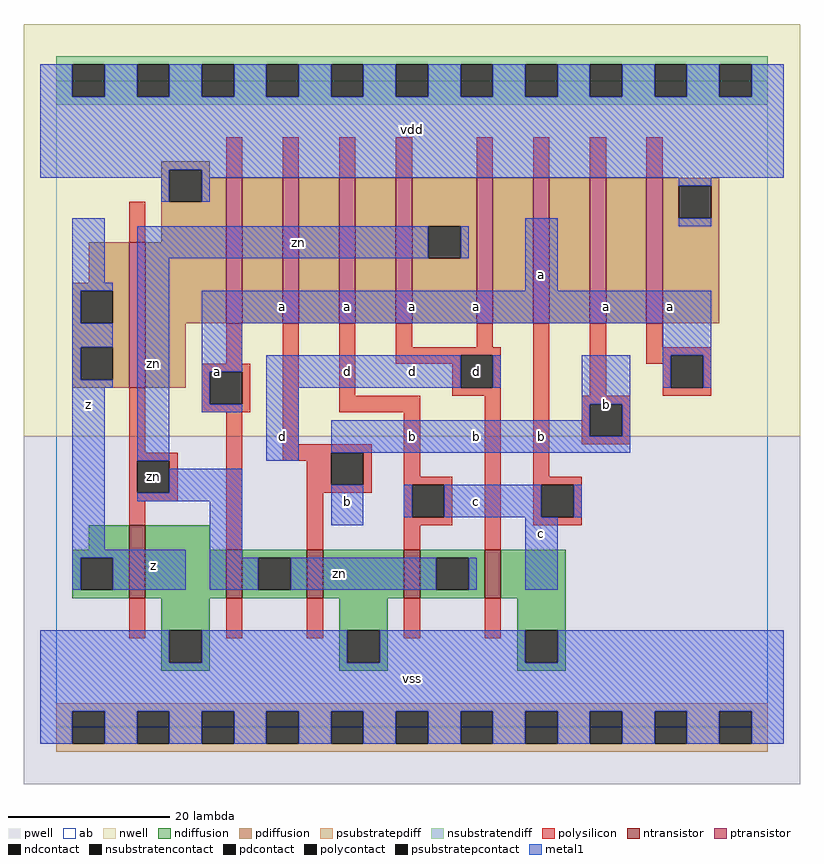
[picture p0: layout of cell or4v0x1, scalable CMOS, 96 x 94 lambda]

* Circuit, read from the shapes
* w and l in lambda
.subckt or4v0x1 a b c d vdd vss z zn
M1 vss zn z vss nfet w=9 l=2
M2 zn a vss vss nfet w=6 l=2
M3 vss b zn vss nfet w=6 l=2
M4 zn c vss vss nfet w=6 l=2
M5 vss d zn vss nfet w=6 l=2
M6 vdd zn z vdd pfet w=18 l=2
M7 n1 a vdd vdd pfet w=18 l=2
M8 n2 b n1 vdd pfet w=18 l=2
M9 n3 c n2 vdd pfet w=18 l=2
M10 zn d n3 vdd pfet w=18 l=2
M11 n4 d zn vdd pfet w=18 l=2
M12 n5 c n4 vdd pfet w=18 l=2
M13 n6 b n5 vdd pfet w=18 l=2
M14 vdd a n6 vdd pfet w=18 l=2
.ends

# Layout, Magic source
magic
tech scmos
<< ab >>
rect 0 0 88 80
<< pwell >>
rect -4 -7 92 36
<< nwell >>
rect -4 36 92 87
<< polysilicon >>
rect 21 68 23 73
rect 28 68 30 73
rect 35 68 37 73
rect 42 68 44 73
rect 52 68 54 73
rect 59 68 61 73
rect 66 68 68 73
rect 73 68 75 73
rect 9 60 11 65
rect 21 45 23 50
rect 18 44 24 45
rect 9 34 11 42
rect 18 40 19 44
rect 23 40 24 44
rect 18 39 24 40
rect 9 33 15 34
rect 9 29 10 33
rect 14 29 15 33
rect 9 28 15 29
rect 9 25 11 28
rect 21 22 23 39
rect 28 35 30 50
rect 35 41 37 50
rect 42 47 44 50
rect 52 47 54 50
rect 42 46 55 47
rect 42 45 50 46
rect 49 42 50 45
rect 54 42 55 46
rect 49 41 55 42
rect 35 39 45 41
rect 28 34 39 35
rect 28 33 34 34
rect 31 30 34 33
rect 38 30 39 34
rect 31 29 39 30
rect 43 31 45 39
rect 43 30 49 31
rect 31 22 33 29
rect 43 26 44 30
rect 48 26 49 30
rect 43 25 49 26
rect 43 22 45 25
rect 53 22 55 41
rect 59 31 61 50
rect 66 41 68 50
rect 73 47 75 50
rect 73 46 81 47
rect 73 45 76 46
rect 75 42 76 45
rect 80 42 81 46
rect 75 41 81 42
rect 65 40 71 41
rect 65 36 66 40
rect 70 36 71 40
rect 65 35 71 36
rect 59 30 65 31
rect 59 26 60 30
rect 64 26 65 30
rect 59 25 65 26
rect 9 11 11 16
rect 21 11 23 16
rect 31 11 33 16
rect 43 11 45 16
rect 53 11 55 16
<< ndiffusion >>
rect 4 22 9 25
rect 2 21 9 22
rect 2 17 3 21
rect 7 17 9 21
rect 2 16 9 17
rect 11 22 19 25
rect 11 16 21 22
rect 23 21 31 22
rect 23 17 25 21
rect 29 17 31 21
rect 23 16 31 17
rect 33 16 43 22
rect 45 21 53 22
rect 45 17 47 21
rect 51 17 53 21
rect 45 16 53 17
rect 55 16 63 22
rect 13 12 19 16
rect 13 8 14 12
rect 18 8 19 12
rect 35 12 41 16
rect 13 7 19 8
rect 35 8 36 12
rect 40 8 41 12
rect 57 12 63 16
rect 35 7 41 8
rect 57 8 58 12
rect 62 8 63 12
rect 57 7 63 8
<< pdiffusion >>
rect 13 69 19 70
rect 13 65 14 69
rect 18 68 19 69
rect 18 65 21 68
rect 13 60 21 65
rect 4 55 9 60
rect 2 54 9 55
rect 2 50 3 54
rect 7 50 9 54
rect 2 47 9 50
rect 2 43 3 47
rect 7 43 9 47
rect 2 42 9 43
rect 11 50 21 60
rect 23 50 28 68
rect 30 50 35 68
rect 37 50 42 68
rect 44 62 52 68
rect 44 58 46 62
rect 50 58 52 62
rect 44 50 52 58
rect 54 50 59 68
rect 61 50 66 68
rect 68 50 73 68
rect 75 67 82 68
rect 75 63 77 67
rect 81 63 82 67
rect 75 50 82 63
rect 11 42 16 50
<< metal1 >>
rect -2 78 2 82
rect 6 78 10 82
rect 14 78 18 82
rect 22 78 26 82
rect 30 78 34 82
rect 38 78 42 82
rect 46 78 50 82
rect 54 78 58 82
rect 62 78 66 82
rect 70 78 74 82
rect 78 78 82 82
rect 86 78 90 82
rect -2 69 90 78
rect -2 68 14 69
rect 13 65 14 68
rect 18 68 90 69
rect 18 65 19 68
rect 77 67 81 68
rect 2 55 6 63
rect 10 58 46 62
rect 50 58 51 62
rect 2 54 7 55
rect 2 50 3 54
rect 2 47 7 50
rect 2 43 3 47
rect 2 42 7 43
rect 2 22 6 42
rect 10 33 14 58
rect 58 54 62 63
rect 77 62 81 63
rect 18 50 81 54
rect 18 44 23 50
rect 75 46 81 50
rect 18 40 19 44
rect 18 39 23 40
rect 26 42 50 46
rect 54 42 55 46
rect 26 33 30 42
rect 65 40 71 46
rect 75 42 76 46
rect 80 42 81 46
rect 65 38 66 40
rect 34 36 66 38
rect 70 36 71 40
rect 34 34 71 36
rect 14 29 23 32
rect 10 28 23 29
rect 2 21 16 22
rect 2 17 3 21
rect 7 17 16 21
rect 19 21 23 28
rect 34 25 38 30
rect 43 26 44 30
rect 48 26 60 30
rect 64 26 65 30
rect 19 17 25 21
rect 29 17 47 21
rect 51 17 52 21
rect 58 17 62 26
rect -2 8 14 12
rect 18 8 36 12
rect 40 8 58 12
rect 62 8 90 12
rect -2 2 90 8
rect -2 -2 2 2
rect 6 -2 10 2
rect 14 -2 18 2
rect 22 -2 26 2
rect 30 -2 34 2
rect 38 -2 42 2
rect 46 -2 50 2
rect 54 -2 58 2
rect 62 -2 66 2
rect 70 -2 74 2
rect 78 -2 82 2
rect 86 -2 90 2
<< ntransistor >>
rect 9 16 11 25
rect 21 16 23 22
rect 31 16 33 22
rect 43 16 45 22
rect 53 16 55 22
<< ptransistor >>
rect 9 42 11 60
rect 21 50 23 68
rect 28 50 30 68
rect 35 50 37 68
rect 42 50 44 68
rect 52 50 54 68
rect 59 50 61 68
rect 66 50 68 68
rect 73 50 75 68
<< polycontact >>
rect 19 40 23 44
rect 10 29 14 33
rect 50 42 54 46
rect 34 30 38 34
rect 44 26 48 30
rect 76 42 80 46
rect 66 36 70 40
rect 60 26 64 30
<< ndcontact >>
rect 3 17 7 21
rect 25 17 29 21
rect 47 17 51 21
rect 14 8 18 12
rect 36 8 40 12
rect 58 8 62 12
<< pdcontact >>
rect 14 65 18 69
rect 3 50 7 54
rect 3 43 7 47
rect 46 58 50 62
rect 77 63 81 67
<< psubstratepcontact >>
rect 2 -2 6 2
rect 10 -2 14 2
rect 18 -2 22 2
rect 26 -2 30 2
rect 34 -2 38 2
rect 42 -2 46 2
rect 50 -2 54 2
rect 58 -2 62 2
rect 66 -2 70 2
rect 74 -2 78 2
rect 82 -2 86 2
<< nsubstratencontact >>
rect 2 78 6 82
rect 10 78 14 82
rect 18 78 22 82
rect 26 78 30 82
rect 34 78 38 82
rect 42 78 46 82
rect 50 78 54 82
rect 58 78 62 82
rect 66 78 70 82
rect 74 78 78 82
rect 82 78 86 82
<< psubstratepdiff >>
rect 0 2 88 3
rect 0 -2 2 2
rect 6 -2 10 2
rect 14 -2 18 2
rect 22 -2 26 2
rect 30 -2 34 2
rect 38 -2 42 2
rect 46 -2 50 2
rect 54 -2 58 2
rect 62 -2 66 2
rect 70 -2 74 2
rect 78 -2 82 2
rect 86 -2 88 2
rect 0 -3 88 -2
<< nsubstratendiff >>
rect 0 82 88 83
rect 0 78 2 82
rect 6 78 10 82
rect 14 78 18 82
rect 22 78 26 82
rect 30 78 34 82
rect 38 78 42 82
rect 46 78 50 82
rect 54 78 58 82
rect 62 78 66 82
rect 70 78 74 82
rect 78 78 82 82
rect 86 78 88 82
rect 0 77 88 78
<< labels >>
rlabel polycontact 12 31 12 31 6 zn
rlabel metal1 12 20 12 20 6 z
rlabel metal1 4 40 4 40 6 z
rlabel metal1 12 45 12 45 6 zn
rlabel metal1 20 44 20 44 6 a
rlabel metal1 28 36 28 36 6 d
rlabel metal1 28 52 28 52 6 a
rlabel metal1 44 6 44 6 6 vss
rlabel metal1 36 28 36 28 6 b
rlabel metal1 35 19 35 19 6 zn
rlabel metal1 36 44 36 44 6 d
rlabel metal1 44 36 44 36 6 b
rlabel metal1 44 44 44 44 6 d
rlabel metal1 44 52 44 52 6 a
rlabel metal1 36 52 36 52 6 a
rlabel metal1 30 60 30 60 6 zn
rlabel metal1 44 74 44 74 6 vdd
rlabel metal1 52 28 52 28 6 c
rlabel metal1 60 24 60 24 6 c
rlabel metal1 52 36 52 36 6 b
rlabel polycontact 52 44 52 44 6 d
rlabel metal1 60 36 60 36 6 b
rlabel metal1 68 40 68 40 6 b
rlabel metal1 68 52 68 52 6 a
rlabel metal1 52 52 52 52 6 a
rlabel metal1 60 56 60 56 6 a
rlabel metal1 76 52 76 52 6 a
<< end >>
